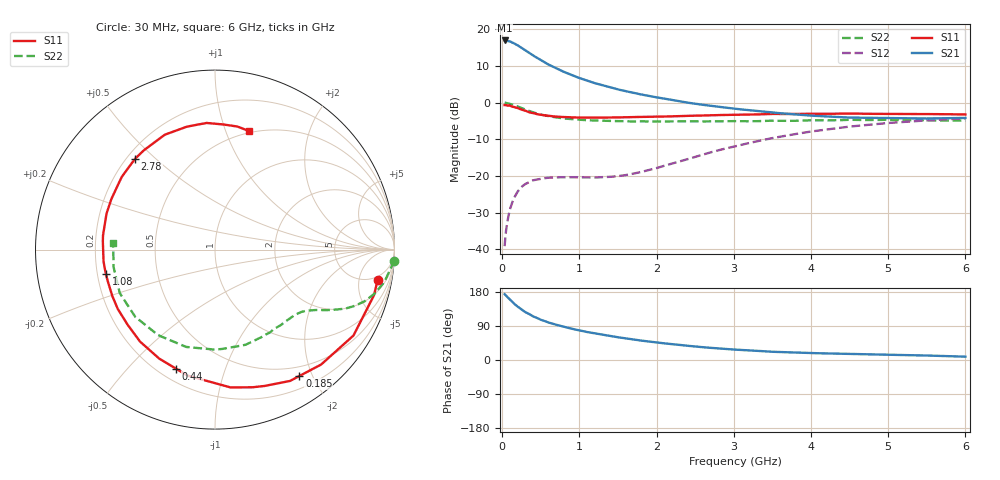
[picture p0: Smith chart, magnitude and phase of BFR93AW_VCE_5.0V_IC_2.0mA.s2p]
! Infineon Technologies  Discrete & RF Semiconductors
! BFR93AW
! VCE =  5.0 V,  IC =  2.0 mA
! Common Emitter S-Parameters:  Nov 2015
# GHz  S  MA  R  50
!  f  S11  S21  S12  S22
! GHz  MAG  ANG  MAG  ANG  MAG  ANG  MAG  ANG
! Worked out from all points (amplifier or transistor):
!   206 points, 30 MHz to 6 GHz, reference 50 ohm
!   highest |S21| = 16.9 dB at 30 MHz (marker M1)
!   |S21| within 3 dB of that: start of sweep to 320.6 MHz
!   unconditionally stable (mu >= 1): 1.226 GHz to 2.3 GHz
!   at 200 MHz: K = 0.16, MSG = 19.9 dB, |S12| = -24.3 dB
!   at 1.56 GHz: K = 1.15, MAG = 9.2 dB, |S12| = -19.9 dB
!   at 6 GHz: K = 0.99, MSG = 0.0 dB, |S12| = -4.3 dB
!   S11 on the Smith chart (normalised r, x): 30 MHz: 4.00, -9.03; 185 MHz: 0.36, -1.81; 440 MHz: 0.27, -0.69; 1.08 GHz: 0.24, -0.11; 2.78 GHz: 0.23, +0.43; 6 GHz: 0.48, +1.21
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0.03  0.9219 -10.6  7.013 173.7  0.011 83.5  1 -3.5
0.055  0.9172 -17.5  6.958 168.2  0.02 80.8  0.9848 -6.1
0.1  0.908 -31.8  6.807 159.1  0.0352 73.0  0.9606 -10.8
0.15  0.8716 -47.3  6.432 149.1  0.0495 64.5  0.9237 -15.3
0.185  0.8467 -56.3  6.124 143.3  0.0576 60.3  0.8945 -17.9
0.24  0.8081 -70.1  5.645 134.5  0.0689 53.8  0.8473 -21.4
0.3  0.7726 -83.6  5.138 126.2  0.0776 48.3  0.7998 -24.2
0.4  0.7183 -102.3  4.367 115.0  0.0871 41.4  0.7333 -27.3
0.44  0.6983 -108.0  4.121 111.8  0.0888 39.6  0.7135 -28.2
0.5  0.6822 -117.1  3.781 106.1  0.0914 37.1  0.6841 -29.5
0.6  0.6611 -129.2  3.287 98.8  0.0944 34.4  0.6504 -31.2
0.7  0.6419 -139.4  2.92 92.9  0.0952 33.3  0.6259 -32.7
0.9  0.6279 -155.7  2.361 82.4  0.0958 33.3  0.5929 -35.9
1.04  0.6225 -164.8  2.085 76.3  0.0954 34.9  0.5787 -38.6
1.08  0.6226 -167.2  2.018 74.7  0.0953 35.6  0.5749 -39.5
1.5  0.6289 172.8  1.507 60.0  0.0992 48.6  0.5583 -48.6
2.02  0.6426 153.4  1.165 45.6  0.1298 64.8  0.5521 -62.2
2.78  0.6734 131.4  0.881 30.7  0.2205 71.4  0.5542 -83.9
3.1  0.6819 123.1  0.804 26.5  0.2655 69.6  0.5552 -93.2
4.1  0.7021 101.1  0.654 17.8  0.415 57.0  0.5705 -127.0
5.1  0.6976 84.9  0.61 13.5  0.5341 41.0  0.5783 -158.3
6  0.6878 74.1  0.616 8.8  0.6091 27.8  0.5686 176.5
